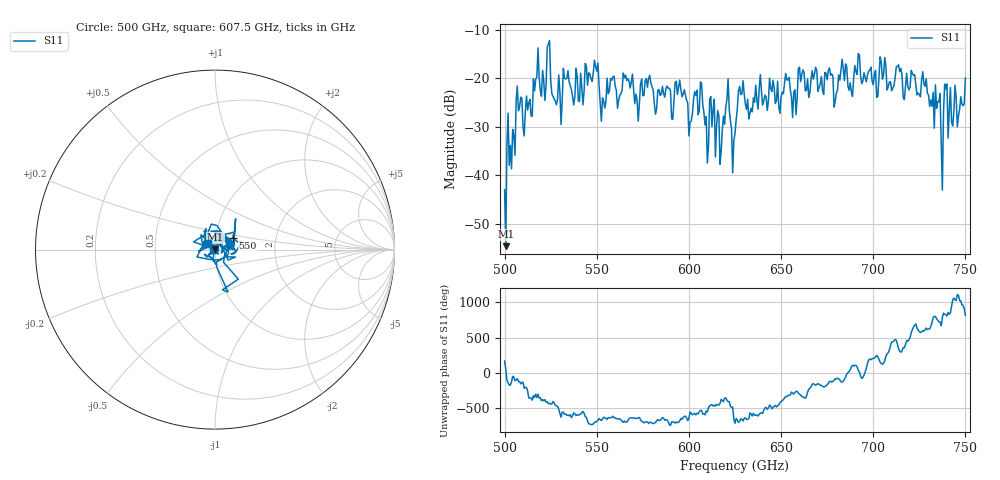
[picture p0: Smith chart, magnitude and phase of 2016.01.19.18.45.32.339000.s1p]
!Created with skrf (http://scikit-rf.org).
# GHz S RI R 50.0
!freq ReS11 ImS11
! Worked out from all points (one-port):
!   401 points, 500 GHz to 750 GHz, reference 50 ohm
!   lowest |S11| = -54.7 dB at 500.6 GHz (marker M1), VSWR 1.00, Z = 50.1 + j0.151 ohm
!   |S11| at or under -10 dB: start of sweep to end of sweep
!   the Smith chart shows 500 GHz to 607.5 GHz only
!   S11 on the Smith chart (normalised r, x): 500 GHz: 0.99, +0.00; 550 GHz: 1.21, +0.16; 607.5 GHz: 0.93, +0.07
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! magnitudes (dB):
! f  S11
! 500 GHz  -43.0
! 500.6 GHz  -54.7
! 507.5 GHz  -26.7
! 511.2 GHz  -26.8
! 523.8 GHz  -12.8
! 526.9 GHz  -24.2
! 531.2 GHz  -24.5
! 550 GHz  -18.5
! 553.1 GHz  -24.0
! 558.8 GHz  -19.7
! 562.5 GHz  -23.4
! 593.8 GHz  -23.3
! 600.6 GHz  -29.0
! 607.5 GHz  -25.3
! 609.4 GHz  -27.9
! 612.5 GHz  -30.0
! 618.1 GHz  -30.6
! 621.2 GHz  -20.1
! 625 GHz  -31.4
! 628.1 GHz  -23.3
! 656.2 GHz  -28.1
! 660.6 GHz  -20.6
! 687.5 GHz  -20.9
! 691.2 GHz  -19.2
! 718.8 GHz  -21.7
! 727.5 GHz  -21.1
! 736.9 GHz  -33.0
! 750 GHz  -19.9
